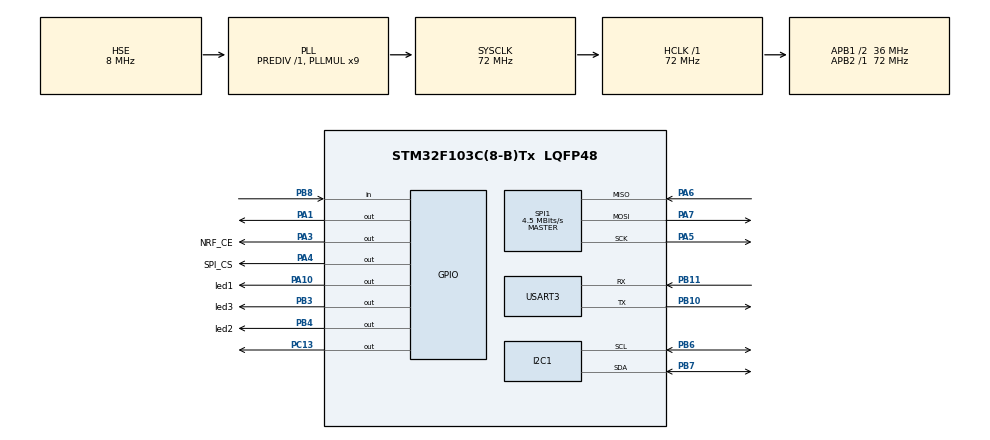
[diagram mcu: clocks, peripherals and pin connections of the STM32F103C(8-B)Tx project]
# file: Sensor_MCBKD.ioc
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Mcu.Family=STM32F1
Mcu.Name=STM32F103C(8-B)Tx
Mcu.Package=LQFP48
NVIC.PriorityGroup=NVIC_PRIORITYGROUP_4
PA1.Signal=GPIO_Output
PA10.GPIO_Label=led1
PA10.Signal=GPIO_Output
PA13.Mode=Serial_Wire
PA13.Signal=SYS_JTMS-SWDIO
PA14.Mode=Serial_Wire
PA14.Signal=SYS_JTCK-SWCLK
PA3.GPIO_Label=NRF_CE
PA3.Signal=GPIO_Output
PA4.GPIO_Label=SPI_CS
PA4.Signal=GPIO_Output
PA5.Mode=Full_Duplex_Master
PA5.Signal=SPI1_SCK
PA6.Mode=Full_Duplex_Master
PA6.Signal=SPI1_MISO
PA7.Mode=Full_Duplex_Master
PA7.Signal=SPI1_MOSI
PB10.Mode=Asynchronous
PB10.Signal=USART3_TX
PB11.Mode=Asynchronous
PB11.Signal=USART3_RX
PB3.GPIO_Label=led3
PB3.Signal=GPIO_Output
PB4.GPIO_Label=led2
PB4.Signal=GPIO_Output
PB6.Mode=I2C
PB6.Signal=I2C1_SCL
PB7.Mode=I2C
PB7.Signal=I2C1_SDA
PB8.Signal=GPIO_Input
PC13-TAMPER-RTC.Signal=GPIO_Output
PD0-OSC_IN.Mode=HSE-External-Oscillator
PD0-OSC_IN.Signal=RCC_OSC_IN
PD1-OSC_OUT.Mode=HSE-External-Oscillator
PD1-OSC_OUT.Signal=RCC_OSC_OUT
ProjectManager.HeapSize=0x200
ProjectManager.StackSize=0x400
ProjectManager.TargetToolchain=MDK-ARM V5.32
RCC.AHBFreq_Value=72000000
RCC.APB1CLKDivider=RCC_HCLK_DIV2
RCC.APB1Freq_Value=36000000
RCC.APB1TimFreq_Value=72000000
RCC.APB2Freq_Value=72000000
RCC.APB2TimFreq_Value=72000000
RCC.HCLKFreq_Value=72000000
RCC.PLLMUL=RCC_PLL_MUL9
RCC.PLLSourceVirtual=RCC_PLLSOURCE_HSE
RCC.SYSCLKFreq_VALUE=72000000
RCC.SYSCLKSource=RCC_SYSCLKSOURCE_PLLCLK
RCC.USBFreq_Value=72000000
SPI1.BaudRatePrescaler=SPI_BAUDRATEPRESCALER_16
SPI1.CalculateBaudRate=4.5 MBits/s
SPI1.Direction=SPI_DIRECTION_2LINES
SPI1.Mode=SPI_MODE_MASTER
SPI1.VirtualType=VM_MASTER
TIM1.Period=0xffff-1
TIM1.Prescaler=71
USART3.VirtualMode=VM_ASYNC
VP_TIM1_VS_ClockSourceINT.Mode=Internal
board=custom

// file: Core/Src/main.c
/* USER CODE BEGIN Header */
/**
  ******************************************************************************
  * @file           : main.c
  * @brief          : Main program body
  ******************************************************************************
  * @attention
  *
  * Copyright (c) 2023 STMicroelectronics.
  * All rights reserved.
  *
  * This software is licensed under terms that can be found in the LICENSE file
  * in the root directory of this software component.
  * If no LICENSE file comes with this software, it is provided AS-IS.
  *
  ******************************************************************************
  */
/* USER CODE END Header */
#include "main.h"

/* USER CODE BEGIN Includes */
#include "MY_NRF24.h"
/* USER CODE END Includes */

I2C_HandleTypeDef hi2c1;

SPI_HandleTypeDef hspi1;

TIM_HandleTypeDef htim1;

UART_HandleTypeDef huart3;

/* USER CODE BEGIN PV */
	uint8_t status=0;
/* USER CODE END PV */

void SystemClock_Config(void);
static void MX_GPIO_Init(void);
static void MX_SPI1_Init(void);
static void MX_I2C1_Init(void);
static void MX_TIM1_Init(void);
static void MX_USART3_UART_Init(void);

/* USER CODE BEGIN 0 */
uint64_t TxpipeAddrs = 0x11223344AA;
uint64_t RxpipeAddrs = 0x11223344AA;
uint16_t myTxData[32];
uint16_t myRxData[50];

uint8_t Temp_byte1, Temp_byte2;
float Temperature = 0;
uint8_t Presence = 0;
uint16_t TEMP;

void delay (uint16_t us)
{
	__HAL_TIM_SET_COUNTER(&htim1,0);  // set the counter value a 0
	while (__HAL_TIM_GET_COUNTER(&htim1) < us);  // wait for the counter to reach the us input in the parameter
}

void Set_Pin_Output(GPIO_TypeDef *GPIOx, uint16_t GPIO_Pin)
{
	GPIO_InitTypeDef GPIO_InitStruct = {0};
	GPIO_InitStruct.Pin = GPIO_Pin;
	GPIO_InitStruct.Mode = GPIO_MODE_OUTPUT_PP;
	GPIO_InitStruct.Speed = GPIO_SPEED_FREQ_LOW;
	HAL_GPIO_Init(GPIOx,&GPIO_InitStruct);
}

void Set_Pin_Input(GPIO_TypeDef *GPIOx, uint16_t GPIO_Pin)
{
	GPIO_InitTypeDef GPIO_InitStruct = {0};
	GPIO_InitStruct.Pin = GPIO_Pin;
	GPIO_InitStruct.Mode = GPIO_MODE_INPUT;
	GPIO_InitStruct.Pull = GPIO_NOPULL;
	HAL_GPIO_Init(GPIOx,&GPIO_InitStruct);
}
#define DS18B20_PORT GPIOA
#define DS18B20_PIN GPIO_PIN_1
uint8_t DS18B20_Start (void)
{
	uint8_t Response = 0;
	Set_Pin_Output(DS18B20_PORT, DS18B20_PIN);   // set the pin as output
	HAL_GPIO_WritePin (DS18B20_PORT, DS18B20_PIN, 0);  // pull the pin low
	delay (480);   // delay according to datasheet

	Set_Pin_Input(DS18B20_PORT, DS18B20_PIN);    // set the pin as input
	delay (80);    // delay according to datasheet

	if (!(HAL_GPIO_ReadPin (DS18B20_PORT, DS18B20_PIN))) Response = 1;    // if the pin is low i.e the presence pulse is detected
	else Response = -1;

	delay (400); // 480 us delay totally.

	return Response;
}

void DS18B20_Write (uint8_t data)
{
	Set_Pin_Output(DS18B20_PORT, DS18B20_PIN);  // set as output

	for (int i=0; i<8; i++)
	{

		if ((data & (1<<i))!=0)  // if the bit is high
		{
			// write 1

			Set_Pin_Output(DS18B20_PORT, DS18B20_PIN);  // set as output
			HAL_GPIO_WritePin (DS18B20_PORT, DS18B20_PIN, 0);  // pull the pin LOW
			delay (1);  // wait for 1 us

			Set_Pin_Input(DS18B20_PORT, DS18B20_PIN);  // set as input
			delay (50);  // wait for 60 us
		}

		else  // if the bit is low
		{
			// write 0

			Set_Pin_Output(DS18B20_PORT, DS18B20_PIN);
			HAL_GPIO_WritePin (DS18B20_PORT, DS18B20_PIN, 0);  // pull the pin LOW
			delay (50);  // wait for 60 us

			Set_Pin_Input(DS18B20_PORT, DS18B20_PIN);
		}
	}
}

uint8_t DS18B20_read (void)
{
	uint8_t value=0;
	Set_Pin_Input(DS18B20_PORT, DS18B20_PIN);

	for (int i=0;i<8;i++)
	{
		Set_Pin_Output(DS18B20_PORT, DS18B20_PIN); // set as output

		HAL_GPIO_WritePin (GPIOA, GPIO_PIN_1, 0);  // pull the data pin LOW
		delay (2);  // wait for 2 us

		Set_Pin_Input(DS18B20_PORT, DS18B20_PIN);  // set as input
		if (HAL_GPIO_ReadPin (GPIOA, GPIO_PIN_1))  // if the pin is HIGH
		{
			value |= 1<<i;  // read = 1
		}
		delay (60);  // wait for 60 us
	}
	return value;
}
uint8_t checksum (uint16_t *data)
    {
	    uint16_t check_sum = 0;
	    check_sum += data[0] + data[1];
	    for (uint8_t i = 0; i< data[1]; i++)
	    {
		     check_sum += data[2+i];
	    }
	    return check_sum;
    }

bool process_data (uint16_t *data)
{
	uint8_t len = 2+ data[1];
	if (checksum(data) == data[len])
	{
		return 1;
	}
	else
	{
		return 0;
	}
}

uint16_t max_temp;

uint16_t min_temp;
void command(uint16_t *data)
{

			//max_temp = data[2];
		//HAL_GPIO_TogglePin(GPIOC, GPIO_PIN_13);
}
void HAL_GPIO_EXTI_Callback(uint16_t GPIO_Pin)
{
		status = ~status;
		while(!HAL_GPIO_ReadPin(GPIOB, GPIO_PIN_8)){}
}
/* USER CODE END 0 */

int main(void)
{

  /* MCU Configuration--------------------------------------------------------*/

  /* Reset of all peripherals, Initializes the Flash interface and the Systick. */
  HAL_Init();

  /* Configure the system clock */
  SystemClock_Config();

  /* Initialize all configured peripherals */
  MX_GPIO_Init();
  MX_SPI1_Init();
  MX_I2C1_Init();
  MX_TIM1_Init();
  MX_USART3_UART_Init();
  /* USER CODE BEGIN 2 */
	HAL_TIM_Base_Start(&htim1);

  NRF24_begin(GPIOA, GPIO_PIN_4, GPIO_PIN_3, hspi1);
	nrf24_DebugUART_Init(huart3);

	printRadioSettings();

	//**** TRANSMIT - ACK ****//
	NRF24_setChannel(52);
	NRF24_setPayloadSize(32);

  NRF24_setAutoAck(true);
	NRF24_openReadingPipe(0, RxpipeAddrs);

  /* USER CODE END 2 */

  /* Infinite loop */
  /* USER CODE BEGIN WHILE */
//	HAL_GPIO_WritePin(GPIOB,GPIO_PIN_3,GPIO_PIN_RESET);
//	HAL_GPIO_WritePin(GPIOB,GPIO_PIN_4,GPIO_PIN_RESET);
//	HAL_GPIO_WritePin(GPIOA,GPIO_PIN_10,GPIO_PIN_RESET);
  while (1)
  {
    /* USER CODE END WHILE */

    /* USER CODE BEGIN 3 */
		if(HAL_GPIO_ReadPin(GPIOB, GPIO_PIN_8)==0)
		{
		NRF24_startListening();
		Presence = DS18B20_Start ();
    HAL_Delay (1);
    DS18B20_Write (0xCC);  // skip ROM
    DS18B20_Write (0x44);  // convert t
    HAL_Delay (800);

    Presence = DS18B20_Start ();
    HAL_Delay(1);
    DS18B20_Write (0xCC);  // skip ROM
    DS18B20_Write (0xBE);  // Read Scratch-pad

    Temp_byte1 = DS18B20_read();
    Temp_byte2 = DS18B20_read();
		TEMP = (Temp_byte2<<8)|Temp_byte1;
		Temperature = ((float)TEMP/16)*100;

	  HAL_Delay(10);
    if(NRF24_available())
		{
			NRF24_read(myRxData, 32);
			process_data(myRxData);
			command(myRxData);
		  max_temp = myRxData[2]*10 + myRxData[3];
			min_temp = max_temp - 10;
		}

		NRF24_stopListening();
	  NRF24_openWritingPipe(TxpipeAddrs );
		myTxData[0] = 0x01;
	  myTxData[1] = 0x02;
		myTxData[2] = Temperature;
		myTxData[4] = checksum(myTxData);
		NRF24_write(myTxData, 32);

		if((Temperature/100)>max_temp)
		{
			HAL_GPIO_WritePin(GPIOB,GPIO_PIN_4,GPIO_PIN_RESET);
			HAL_GPIO_WritePin(GPIOB,GPIO_PIN_3,GPIO_PIN_RESET);
			HAL_GPIO_WritePin(GPIOA,GPIO_PIN_10,GPIO_PIN_SET);
		}
		if(((Temperature/100) <= max_temp)&&((Temperature/100) > min_temp))
		{
			HAL_GPIO_WritePin(GPIOA,GPIO_PIN_10,GPIO_PIN_RESET);
			HAL_GPIO_WritePin(GPIOB,GPIO_PIN_3,GPIO_PIN_RESET);
			HAL_GPIO_WritePin(GPIOB,GPIO_PIN_4,GPIO_PIN_SET);
		}

		if((Temperature/100)<= min_temp)
		{
			HAL_GPIO_WritePin(GPIOB,GPIO_PIN_4,GPIO_PIN_RESET);
			HAL_GPIO_WritePin(GPIOA,GPIO_PIN_10,GPIO_PIN_RESET);
			HAL_GPIO_WritePin(GPIOB,GPIO_PIN_3,GPIO_PIN_SET);
		}
		}
	}

  /* USER CODE END 3 */
}

void SystemClock_Config(void)
{
  RCC_OscInitTypeDef RCC_OscInitStruct = {0};
  RCC_ClkInitTypeDef RCC_ClkInitStruct = {0};

  /** Initializes the RCC Oscillators according to the specified parameters
  * in the RCC_OscInitTypeDef structure.
  */
  RCC_OscInitStruct.OscillatorType = RCC_OSCILLATORTYPE_HSE;
  RCC_OscInitStruct.HSEState = RCC_HSE_ON;
  RCC_OscInitStruct.HSEPredivValue = RCC_HSE_PREDIV_DIV1;
  RCC_OscInitStruct.HSIState = RCC_HSI_ON;
  RCC_OscInitStruct.PLL.PLLState = RCC_PLL_ON;
  RCC_OscInitStruct.PLL.PLLSource = RCC_PLLSOURCE_HSE;
  RCC_OscInitStruct.PLL.PLLMUL = RCC_PLL_MUL9;
  if (HAL_RCC_OscConfig(&RCC_OscInitStruct) != HAL_OK)
  {
    Error_Handler();
  }

  /** Initializes the CPU, AHB and APB buses clocks
  */
  RCC_ClkInitStruct.ClockType = RCC_CLOCKTYPE_HCLK|RCC_CLOCKTYPE_SYSCLK
                              |RCC_CLOCKTYPE_PCLK1|RCC_CLOCKTYPE_PCLK2;
  RCC_ClkInitStruct.SYSCLKSource = RCC_SYSCLKSOURCE_PLLCLK;
  RCC_ClkInitStruct.AHBCLKDivider = RCC_SYSCLK_DIV1;
  RCC_ClkInitStruct.APB1CLKDivider = RCC_HCLK_DIV2;
  RCC_ClkInitStruct.APB2CLKDivider = RCC_HCLK_DIV1;

  if (HAL_RCC_ClockConfig(&RCC_ClkInitStruct, FLASH_LATENCY_2) != HAL_OK)
  {
    Error_Handler();
  }
}

static void MX_I2C1_Init(void)
{

  hi2c1.Instance = I2C1;
  hi2c1.Init.ClockSpeed = 100000;
  hi2c1.Init.DutyCycle = I2C_DUTYCYCLE_2;
  hi2c1.Init.OwnAddress1 = 0;
  hi2c1.Init.AddressingMode = I2C_ADDRESSINGMODE_7BIT;
  hi2c1.Init.DualAddressMode = I2C_DUALADDRESS_DISABLE;
  hi2c1.Init.OwnAddress2 = 0;
  hi2c1.Init.GeneralCallMode = I2C_GENERALCALL_DISABLE;
  hi2c1.Init.NoStretchMode = I2C_NOSTRETCH_DISABLE;
  if (HAL_I2C_Init(&hi2c1) != HAL_OK)
  {
    Error_Handler();
  }

}

static void MX_SPI1_Init(void)
{

  /* SPI1 parameter configuration*/
  hspi1.Instance = SPI1;
  hspi1.Init.Mode = SPI_MODE_MASTER;
  hspi1.Init.Direction = SPI_DIRECTION_2LINES;
  hspi1.Init.DataSize = SPI_DATASIZE_8BIT;
  hspi1.Init.CLKPolarity = SPI_POLARITY_LOW;
  hspi1.Init.CLKPhase = SPI_PHASE_1EDGE;
  hspi1.Init.NSS = SPI_NSS_SOFT;
  hspi1.Init.BaudRatePrescaler = SPI_BAUDRATEPRESCALER_16;
  hspi1.Init.FirstBit = SPI_FIRSTBIT_MSB;
  hspi1.Init.TIMode = SPI_TIMODE_DISABLE;
  hspi1.Init.CRCCalculation = SPI_CRCCALCULATION_DISABLE;
  hspi1.Init.CRCPolynomial = 10;
  if (HAL_SPI_Init(&hspi1) != HAL_OK)
  {
    Error_Handler();
  }

}

static void MX_TIM1_Init(void)
{

  TIM_ClockConfigTypeDef sClockSourceConfig = {0};
  TIM_MasterConfigTypeDef sMasterConfig = {0};

  htim1.Instance = TIM1;
  htim1.Init.Prescaler = 71;
  htim1.Init.CounterMode = TIM_COUNTERMODE_UP;
  htim1.Init.Period = 0xffff-1;
  htim1.Init.ClockDivision = TIM_CLOCKDIVISION_DIV1;
  htim1.Init.RepetitionCounter = 0;
  htim1.Init.AutoReloadPreload = TIM_AUTORELOAD_PRELOAD_DISABLE;
  if (HAL_TIM_Base_Init(&htim1) != HAL_OK)
  {
    Error_Handler();
  }
  sClockSourceConfig.ClockSource = TIM_CLOCKSOURCE_INTERNAL;
  if (HAL_TIM_ConfigClockSource(&htim1, &sClockSourceConfig) != HAL_OK)
  {
    Error_Handler();
  }
  sMasterConfig.MasterOutputTrigger = TIM_TRGO_RESET;
  sMasterConfig.MasterSlaveMode = TIM_MASTERSLAVEMODE_DISABLE;
  if (HAL_TIMEx_MasterConfigSynchronization(&htim1, &sMasterConfig) != HAL_OK)
  {
    Error_Handler();
  }

}

static void MX_USART3_UART_Init(void)
{

  huart3.Instance = USART3;
  huart3.Init.BaudRate = 115200;
  huart3.Init.WordLength = UART_WORDLENGTH_8B;
  huart3.Init.StopBits = UART_STOPBITS_1;
  huart3.Init.Parity = UART_PARITY_NONE;
  huart3.Init.Mode = UART_MODE_TX_RX;
  huart3.Init.HwFlowCtl = UART_HWCONTROL_NONE;
  huart3.Init.OverSampling = UART_OVERSAMPLING_16;
  if (HAL_UART_Init(&huart3) != HAL_OK)
  {
    Error_Handler();
  }

}

static void MX_GPIO_Init(void)
{
  GPIO_InitTypeDef GPIO_InitStruct = {0};

  /* GPIO Ports Clock Enable */
  __HAL_RCC_GPIOC_CLK_ENABLE();
  __HAL_RCC_GPIOD_CLK_ENABLE();
  __HAL_RCC_GPIOA_CLK_ENABLE();
  __HAL_RCC_GPIOB_CLK_ENABLE();

  /*Configure GPIO pin Output Level */
  HAL_GPIO_WritePin(GPIOC, GPIO_PIN_13, GPIO_PIN_RESET);

  /*Configure GPIO pin Output Level */
  HAL_GPIO_WritePin(GPIOA, GPIO_PIN_1|NRF_CE_Pin|SPI_CS_Pin|led1_Pin, GPIO_PIN_RESET);

  /*Configure GPIO pin Output Level */
  HAL_GPIO_WritePin(GPIOB, led3_Pin|led2_Pin, GPIO_PIN_RESET);

  /*Configure GPIO pin : PC13 */
  GPIO_InitStruct.Pin = GPIO_PIN_13;
  GPIO_InitStruct.Mode = GPIO_MODE_OUTPUT_PP;
  GPIO_InitStruct.Pull = GPIO_NOPULL;
  GPIO_InitStruct.Speed = GPIO_SPEED_FREQ_LOW;
  HAL_GPIO_Init(GPIOC, &GPIO_InitStruct);

  /*Configure GPIO pins : PA1 NRF_CE_Pin SPI_CS_Pin led1_Pin */
  GPIO_InitStruct.Pin = GPIO_PIN_1|NRF_CE_Pin|SPI_CS_Pin|led1_Pin;
  GPIO_InitStruct.Mode = GPIO_MODE_OUTPUT_PP;
  GPIO_InitStruct.Pull = GPIO_NOPULL;
  GPIO_InitStruct.Speed = GPIO_SPEED_FREQ_LOW;
  HAL_GPIO_Init(GPIOA, &GPIO_InitStruct);

  /*Configure GPIO pins : led3_Pin led2_Pin */
  GPIO_InitStruct.Pin = led3_Pin|led2_Pin;
  GPIO_InitStruct.Mode = GPIO_MODE_OUTPUT_PP;
  GPIO_InitStruct.Pull = GPIO_NOPULL;
  GPIO_InitStruct.Speed = GPIO_SPEED_FREQ_LOW;
  HAL_GPIO_Init(GPIOB, &GPIO_InitStruct);

  /*Configure GPIO pin : PB8 */
  GPIO_InitStruct.Pin = GPIO_PIN_8;
  GPIO_InitStruct.Mode = GPIO_MODE_INPUT;
  GPIO_InitStruct.Pull = GPIO_NOPULL;
  HAL_GPIO_Init(GPIOB, &GPIO_InitStruct);

}

void Error_Handler(void)
{
  __disable_irq();
  while (1)
  {
  }
}
